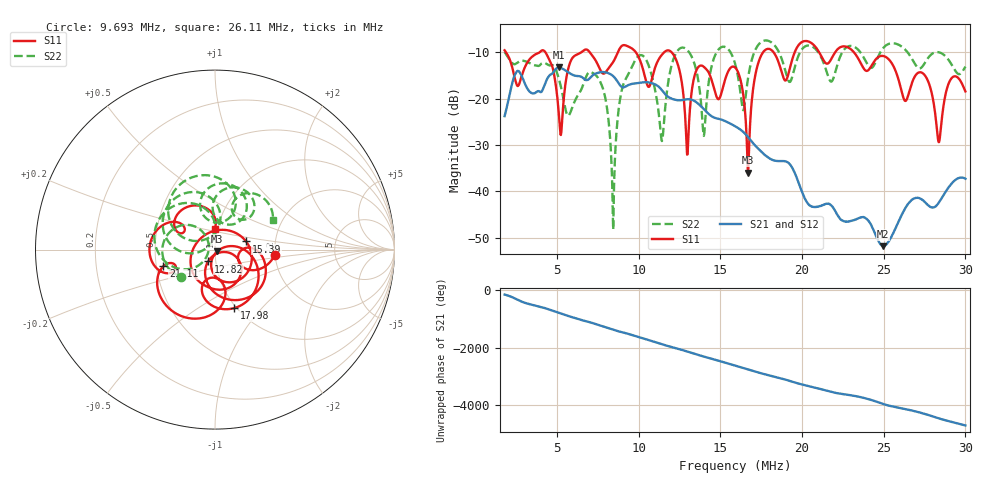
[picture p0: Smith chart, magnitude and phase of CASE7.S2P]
!Agilent Technologies,E5061B,MY49101568,A.02.00
!Date: Wed Mar 01 15:28:24 2023
!Data & Calibration Information:
!Freq	S11:SOLT2(OFF)	S21:SOLT2(OFF)	S12:SOLT2(OFF)	S22:SOLT2(OFF)
# Hz S dB R 50
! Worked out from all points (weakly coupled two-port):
!   1155 points, 1.8 MHz to 30 MHz, reference 50 ohm
!   highest |S21| = -13.30 dB at 5.123 MHz (marker M1); lowest = -51.8 dB at 24.97 MHz (marker M2)
!   lowest |S11| = -35.9 dB at 16.71 MHz (marker M3), VSWR 1.03, Z = 51.3 - j0.993 ohm
!   |S11| at or under -10 dB: 4.293 MHz to 6.501 MHz (2.208 MHz wide, 40.9 % of centre); 12.02 MHz to 17.62 MHz (5.607 MHz wide, 37.8 % of centre); 23.17 MHz to end of sweep (the widest 3 of 8)
!   |S22| runs from -48.2 to -7.5 dB; largest |S21 - S12| = 0.0029
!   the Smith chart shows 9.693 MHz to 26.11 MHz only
!   S11 on the Smith chart (normalised r, x): 9.693 MHz: 2.00, -0.12; 12.82 MHz: 0.92, -0.12; 15.39 MHz: 1.41, +0.13; 17.98 MHz: 0.97, -0.72; 21.11 MHz: 0.54, -0.11; 26.11 MHz: 0.97, +0.23
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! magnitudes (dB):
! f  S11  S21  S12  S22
! 1.8 MHz  -9.6  -23.8  -23.8  -10.0
! 4.268 MHz  -9.9  -16.9  -16.9  -12.3
! 5.123 MHz  -23.6  -13.3  -13.3  -15.8
! 6.516 MHz  -10.0  -15.4  -15.3  -17.9
! 7.787 MHz  -14.5  -14.3  -14.2  -17.5
! 8.447 MHz  -12.1  -15.2  -15.1  -48.2
! 9.693 MHz  -9.5  -16.8  -16.8  -12.4
! 11.21 MHz  -11.7  -17.4  -17.4  -22.4
! 12.82 MHz  -22.4  -20.2  -20.3  -9.1
! 13.99 MHz  -13.2  -22.3  -22.3  -28.0
! 15.39 MHz  -14.9  -25.0  -25.1  -9.1
! 15.9 MHz  -13.3  -25.9  -26.0  -12.4
! 16.71 MHz  -35.9  -28.3  -28.3  -15.4
! 17.98 MHz  -9.3  -32.8  -32.9  -7.6
! 20.62 MHz  -8.1  -43.3  -43.2  -8.8
! 21.11 MHz  -10.4  -43.1  -43.1  -10.6
! 24.97 MHz  -10.8  -51.8  -51.6  -9.1
! 25.31 MHz  -11.5  -50.7  -50.7  -8.2
! 26.11 MHz  -18.7  -44.9  -44.9  -8.8
! 27.48 MHz  -14.8  -42.2  -42.1  -12.5
! 28.36 MHz  -29.4  -42.5  -42.4  -10.0
! 30 MHz  -18.5  -37.3  -37.2  -13.1
